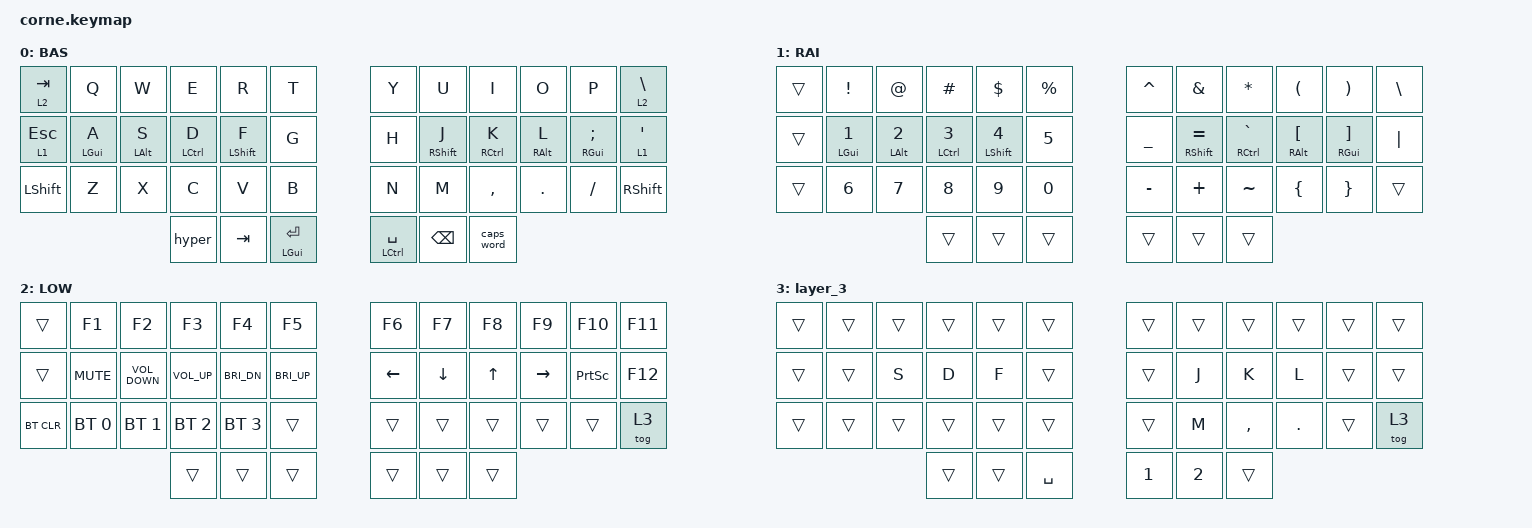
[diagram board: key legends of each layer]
/*
 * Copyright (c) 2020 The ZMK Contributors
 *
 * SPDX-License-Identifier: MIT
 */

#include <dt-bindings/led/led.h>
#include <dt-bindings/zmk/reset.h>
#include <behaviors.dtsi>
#include <dt-bindings/zmk/bt.h>
#include <dt-bindings/zmk/keys.h>

&led_strip { chain-length = <27>; };

/ {
    behaviors {
        hmr: hmr {
            compatible = "zmk,behavior-hold-tap";
            label = "HMR";
            bindings = <&kp>, <&kp>;

            #binding-cells = <2>;
            tapping-term-ms = <200>;
            quick-tap-ms = <175>;
            flavor = "tap-preferred";
            hold-trigger-key-positions = <0 1 2 3 4 5 12 13 14 15 16 17 24 25 26 27 28 29 36 37 38 39 40 41>;
            hold-trigger-on-release;
        };

        hml: hml {
            compatible = "zmk,behavior-hold-tap";
            label = "HML";
            bindings = <&kp>, <&kp>;

            #binding-cells = <2>;
            tapping-term-ms = <200>;
            quick-tap-ms = <175>;
            flavor = "tap-preferred";
            hold-trigger-key-positions = <6 7 8 9 10 11 18 19 20 21 22 23 30 31 32 33 34 35 39 40 41 38 37 36>;
            hold-trigger-on-release;
        };

        hyper: hyper {
            compatible = "zmk,behavior-mod-morph";
            label = "HYPER";
            bindings = <&none>, <&none>;

            #binding-cells = <0>;
            mods = <(MOD_LCTL|MOD_LALT|MOD_RSFT|MOD_RGUI)>;
        };
    };

    keymap {
        compatible = "zmk,keymap";

        default_layer {
            display-name = "BAS";

            // -----------------------------------------------------------------------------------------
            // |  TAB |  Q  |  W  |  E  |  R  |  T  |   |  Y  |  U   |  I  |  O  |  P  | BKSP |
            // | CTRL |  A  |  S  |  D  |  F  |  G  |   |  H  |  J   |  K  |  L  |  ;  |  '   |
            // | SHFT |  Z  |  X  |  C  |  V  |  B  |   |  N  |  M   |  ,  |  .  |  /  | ESC  |
            //                    | GUI | LWR | SPC |   | ENT | RSE  | ALT |

            bindings = <
&lt 2 TAB     &kp Q            &kp W            &kp E                &kp R              &kp T                 &kp Y                   &kp U               &kp I                 &kp O             &kp P                     &lt 2 BACKSLASH
&lt 1 ESCAPE  &hml LEFT_GUI A  &hml LEFT_ALT S  &hml LEFT_CONTROL D  &hml LEFT_SHIFT F  &kp G                 &kp H                   &hmr RIGHT_SHIFT J  &hmr RIGHT_CONTROL K  &hmr RIGHT_ALT L  &hmr RIGHT_GUI SEMICOLON  &lt 1 SQT
&kp LSHFT     &kp Z            &kp X            &kp C                &kp V              &kp B                 &kp N                   &kp M               &kp COMMA             &kp DOT           &kp SLASH                 &kp RIGHT_SHIFT
                                                &hyper               &kp TAB            &mt LEFT_GUI ENTER    &mt LEFT_CONTROL SPACE  &kp BACKSPACE       &caps_word
            >;
        };

        raise_layer {
            display-name = "RAI";

            // -----------------------------------------------------------------------------------------
            // |  TAB |  !  |  @  |  #  |  $  |  %  |   |  ^  |  &  |  *  |  (  |  )  | BKSP |
            // | CTRL |     |     |     |     |     |   |  -  |  =  |  [  |  ]  |  \  |  `   |
            // | SHFT |     |     |     |     |     |   |  _  |  +  |  {  |  }  | "|" |  ~   |
            //                    | GUI |     | SPC |   | ENT |     | ALT |

            bindings = <
&trans  &kp EXCL            &kp AT                  &kp HASH                    &kp DLLR                  &kp PRCNT    &kp CARET       &kp AMPS                &kp ASTERISK              &kp LPAR                     &kp RPAR                      &kp BACKSLASH
&trans  &hml LGUI NUMBER_1  &hml LEFT_ALT NUMBER_2  &hml LEFT_CONTROL NUMBER_3  &hml LEFT_SHIFT NUMBER_4  &kp N5       &kp UNDERSCORE  &hmr RIGHT_SHIFT EQUAL  &hmr RIGHT_CONTROL GRAVE  &hmr RIGHT_ALT LEFT_BRACKET  &hmr RIGHT_GUI RIGHT_BRACKET  &kp PIPE
&trans  &kp NUMBER_6        &kp N7                  &kp N8                      &kp N9                    &kp N0       &kp MINUS       &kp PLUS                &kp TILDE                 &kp LEFT_BRACE               &kp RIGHT_BRACE               &trans
                                                    &trans                      &trans                    &trans       &trans          &trans                  &trans
            >;
        };

        lower_layer {
            display-name = "LOW";

            // -----------------------------------------------------------------------------------------
            // |  TAB |  1  |  2  |  3  |  4  |  5  |   |  6  |  7  |  8  |  9  |  0  | BKSP |
            // | BTCLR| BT1 | BT2 | BT3 | BT4 | BT5 |   | LFT | DWN |  UP | RGT |     |      |
            // | SHFT |     |     |     |     |     |   |     |     |     |     |     |      |
            //                    | GUI |     | SPC |   | ENT |     | ALT |

            bindings = <
&trans      &kp F1        &kp F2             &kp F3           &kp F4        &kp F5          &kp F6    &kp F7    &kp F8  &kp F9     &kp F10    &kp F11
&trans      &kp C_MUTE    &kp C_VOLUME_DOWN  &kp C_VOLUME_UP  &kp C_BRI_DN  &kp C_BRI_UP    &kp LEFT  &kp DOWN  &kp UP  &kp RIGHT  &kp PSCRN  &kp F12
&bt BT_CLR  &bt BT_SEL 0  &bt BT_SEL 1       &bt BT_SEL 2     &bt BT_SEL 3  &trans          &trans    &trans    &trans  &trans     &trans     &tog 3
                                             &trans           &trans        &trans          &trans    &trans    &trans
            >;
        };

        layer_3 {
            bindings = <
&trans  &trans  &trans  &trans  &trans  &trans       &trans        &trans        &trans     &trans      &trans  &trans
&trans  &trans  &kp S   &kp D   &kp F   &trans       &trans        &kp J         &kp K      &kp L       &trans  &trans
&trans  &trans  &trans  &trans  &trans  &trans       &trans        &kp M         &kp COMMA  &kp PERIOD  &trans  &tog 3
                        &trans  &trans  &kp SPACE    &kp NUMBER_1  &kp NUMBER_2  &trans
            >;
        };
    };
};
